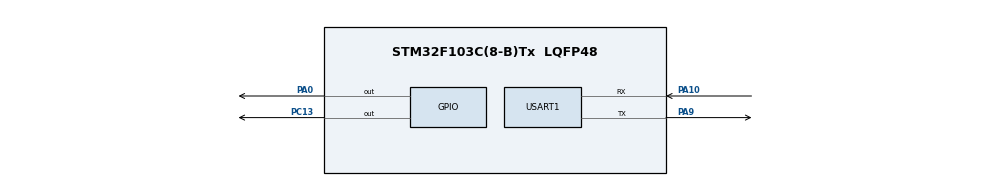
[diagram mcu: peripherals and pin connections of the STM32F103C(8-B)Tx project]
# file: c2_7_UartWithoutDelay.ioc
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Mcu.Family=STM32F1
Mcu.Name=STM32F103C(8-B)Tx
Mcu.Package=LQFP48
NVIC.PriorityGroup=NVIC_PRIORITYGROUP_4
NVIC.TIM4_IRQn=true\:15\:0\:false\:false\:true\:false\:true\:true
NVIC.TimeBase=TIM4_IRQn
NVIC.TimeBaseIP=TIM4
PA0-WKUP.Signal=GPIO_Output
PA10.Mode=Asynchronous
PA10.Signal=USART1_RX
PA9.Mode=Asynchronous
PA9.Signal=USART1_TX
PC13-TAMPER-RTC.Signal=GPIO_Output
ProjectManager.HeapSize=0x200
ProjectManager.StackSize=0x400
ProjectManager.TargetToolchain=STM32CubeIDE
RCC.APB1Freq_Value=8000000
RCC.APB2Freq_Value=8000000
USART1.VirtualMode=VM_ASYNC
VP_SYS_VS_ND.Mode=No_Debug
VP_SYS_VS_tim4.Mode=TIM4
board=custom

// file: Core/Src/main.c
/* USER CODE BEGIN Header */
/**
  ******************************************************************************
  * @file           : main.c
  * @brief          : Main program body
  ******************************************************************************
  * @attention
  *
  * Copyright (c) 2025 STMicroelectronics.
  * All rights reserved.
  *
  * This software is licensed under terms that can be found in the LICENSE file
  * in the root directory of this software component.
  * If no LICENSE file comes with this software, it is provided AS-IS.
  *
  ******************************************************************************
  */
/* USER CODE END Header */
#include "main.h"

/* USER CODE BEGIN Includes */
#include "FreeRTOS.h"
#include "task.h"
/* USER CODE END Includes */

UART_HandleTypeDef huart1;

void SystemClock_Config(void);
static void MX_GPIO_Init(void);
static void MX_USART1_UART_Init(void);

/* USER CODE BEGIN 0 */
void task1_handler (void* parameter);
void task2_handler (void* parameter);
/* USER CODE END 0 */

int main(void)
{

  /* MCU Configuration--------------------------------------------------------*/

  /* Reset of all peripherals, Initializes the Flash interface and the Systick. */
  HAL_Init();

  /* Configure the system clock */
  SystemClock_Config();

  /* USER CODE BEGIN SysInit */
  BaseType_t status;
  TaskHandle_t task1_handle ,task2_handle;
  /* USER CODE END SysInit */

  /* Initialize all configured peripherals */
  MX_GPIO_Init();
  MX_USART1_UART_Init();
  /* USER CODE BEGIN 2 */
  status =xTaskCreate(task1_handler, "Task-1", 100, "Hi", 2, &task1_handle);
  configASSERT(status == pdPASS);
  status =xTaskCreate(task2_handler, "Task-2", 100, "Hello", 3, &task2_handle);
  configASSERT(status == pdPASS);
  vTaskStartScheduler();
  /* USER CODE END 2 */

  /* Infinite loop */
  while (1)
  {

  }
}

void SystemClock_Config(void)
{
  RCC_OscInitTypeDef RCC_OscInitStruct = {0};
  RCC_ClkInitTypeDef RCC_ClkInitStruct = {0};

  /** Initializes the RCC Oscillators according to the specified parameters
  * in the RCC_OscInitTypeDef structure.
  */
  RCC_OscInitStruct.OscillatorType = RCC_OSCILLATORTYPE_HSI;
  RCC_OscInitStruct.HSIState = RCC_HSI_ON;
  RCC_OscInitStruct.HSICalibrationValue = RCC_HSICALIBRATION_DEFAULT;
  RCC_OscInitStruct.PLL.PLLState = RCC_PLL_NONE;
  if (HAL_RCC_OscConfig(&RCC_OscInitStruct) != HAL_OK)
  {
    Error_Handler();
  }

  /** Initializes the CPU, AHB and APB buses clocks
  */
  RCC_ClkInitStruct.ClockType = RCC_CLOCKTYPE_HCLK|RCC_CLOCKTYPE_SYSCLK
                              |RCC_CLOCKTYPE_PCLK1|RCC_CLOCKTYPE_PCLK2;
  RCC_ClkInitStruct.SYSCLKSource = RCC_SYSCLKSOURCE_HSI;
  RCC_ClkInitStruct.AHBCLKDivider = RCC_SYSCLK_DIV1;
  RCC_ClkInitStruct.APB1CLKDivider = RCC_HCLK_DIV1;
  RCC_ClkInitStruct.APB2CLKDivider = RCC_HCLK_DIV1;

  if (HAL_RCC_ClockConfig(&RCC_ClkInitStruct, FLASH_LATENCY_0) != HAL_OK)
  {
    Error_Handler();
  }
}

static void MX_USART1_UART_Init(void)
{

  huart1.Instance = USART1;
  huart1.Init.BaudRate = 115200;
  huart1.Init.WordLength = UART_WORDLENGTH_8B;
  huart1.Init.StopBits = UART_STOPBITS_1;
  huart1.Init.Parity = UART_PARITY_NONE;
  huart1.Init.Mode = UART_MODE_TX_RX;
  huart1.Init.HwFlowCtl = UART_HWCONTROL_NONE;
  huart1.Init.OverSampling = UART_OVERSAMPLING_16;
  if (HAL_UART_Init(&huart1) != HAL_OK)
  {
    Error_Handler();
  }

}

static void MX_GPIO_Init(void)
{
  GPIO_InitTypeDef GPIO_InitStruct = {0};

  /* GPIO Ports Clock Enable */
  __HAL_RCC_GPIOC_CLK_ENABLE();
  __HAL_RCC_GPIOA_CLK_ENABLE();

  /*Configure GPIO pin Output Level */
  HAL_GPIO_WritePin(GPIOC, GPIO_PIN_13, GPIO_PIN_RESET);

  /*Configure GPIO pin Output Level */
  HAL_GPIO_WritePin(GPIOA, GPIO_PIN_0, GPIO_PIN_RESET);

  /*Configure GPIO pin : PC13 */
  GPIO_InitStruct.Pin = GPIO_PIN_13;
  GPIO_InitStruct.Mode = GPIO_MODE_OUTPUT_PP;
  GPIO_InitStruct.Pull = GPIO_NOPULL;
  GPIO_InitStruct.Speed = GPIO_SPEED_FREQ_LOW;
  HAL_GPIO_Init(GPIOC, &GPIO_InitStruct);

  /*Configure GPIO pin : PA0 */
  GPIO_InitStruct.Pin = GPIO_PIN_0;
  GPIO_InitStruct.Mode = GPIO_MODE_OUTPUT_PP;
  GPIO_InitStruct.Pull = GPIO_NOPULL;
  GPIO_InitStruct.Speed = GPIO_SPEED_FREQ_LOW;
  HAL_GPIO_Init(GPIOA, &GPIO_InitStruct);

}

/* USER CODE BEGIN 4 */
void task1_handler (void* parameter){
	for(;;){
		HAL_UART_Transmit(&huart1,parameter , 2, 1000);

}
void task2_handler (void* parameter){
	for(;;){
		HAL_UART_Transmit(&huart1,parameter , 5, 1000);

	}

}
/* USER CODE END 4 */

void HAL_TIM_PeriodElapsedCallback(TIM_HandleTypeDef *htim)
{
  if (htim->Instance == TIM4)
  {
    HAL_IncTick();
  }
}

void Error_Handler(void)
{
  __disable_irq();
  while (1)
  {
  }
}
